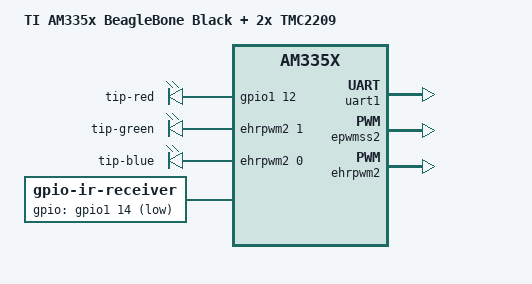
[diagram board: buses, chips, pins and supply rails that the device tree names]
// SPDX-License-Identifier: GPL-2.0-only
/*
 * BeagleBone Black + two BIGTREETECH TMC2209 stepper drivers
 *
 * Both drivers share one single-wire UART bus, told apart by their
 * MS1/MS2 address straps:
 *   P9_24  UART1_TXD  --[1k]--+-- PDN_UART of driver 1 and driver 2
 *   P9_26  UART1_RXD  --------+
 *
 *   Motor 1 (UART address 0, MS1=GND MS2=GND)
 *     P9_16  GPIO1_19   STEP
 *     P9_18  GPIO0_4    DIR
 *   Motor 2 (UART address 2, MS1=GND MS2=3.3V)
 *     P9_12  GPIO1_28   STEP
 *     P9_30  GPIO3_16   DIR
 *   Endstops (switch to GND, internal pull-up: 1 = open, 0 = pressed)
 *     P9_14  GPIO1_18   motor 1
 *     P9_22  GPIO0_2    motor 2
 *   Tip RGB LED (/sys/class/leds/tip-*; pulled down, off at boot)
 *     P8_12  GPIO1_12   red   (gpio-leds, on/off: P8_12 has no PWM)
 *     P8_13  EHRPWM2B   green (pwm-leds, brightness 0-255)
 *     P8_19  EHRPWM2A   blue  (pwm-leds, brightness 0-255)
 *   IR receiver (VS1838, powered from P9_3 3.3 V; /sys/class/rc/rc0)
 *     P8_16  GPIO1_14   OUT   (gpio-ir-recv, low while it sees 38 kHz),
 *                       with 10k to 3.3 V: the internal pull-up is too weak
 *
 * STEP 2 was on P9_28 but that pin stays at ~3.3 V even when driven low
 * (measured 2026-10-09, shield removed), so it moved to P9_12. HDMI audio
 * stays disabled so nothing else drives P9_28. HDMI video is unaffected.
 */
#include "am335x-boneblack.dts"

/ {
	model = "TI AM335x BeagleBone Black + 2x TMC2209";

	/* Held by the kernel so they stay on after "scara led" exits */
	leds-tip {
		compatible = "gpio-leds";
		pinctrl-names = "default";
		pinctrl-0 = <&tip_led_pins>;

		led-tip-red {
			label = "tip-red";
			gpios = <&gpio1 12 GPIO_ACTIVE_HIGH>;
			default-state = "off";
		};
	};

	/* 10 kHz: no visible dotting in a long-exposure photo of a move */
	leds-tip-pwm {
		compatible = "pwm-leds";

		led-tip-green {
			label = "tip-green";
			pwms = <&ehrpwm2 1 100000 0>;	/* B: P8_13 */
			max-brightness = <255>;
			default-state = "off";
		};

		led-tip-blue {
			label = "tip-blue";
			pwms = <&ehrpwm2 0 100000 0>;	/* A: P8_19 */
			max-brightness = <255>;
			default-state = "off";
		};
	};

	/* Decoded by the kernel: scara ir reads the scancodes */
	ir-receiver {
		compatible = "gpio-ir-receiver";
		pinctrl-names = "default";
		pinctrl-0 = <&ir_pins>;
		gpios = <&gpio1 14 GPIO_ACTIVE_LOW>;
	};
};

&am33xx_pinmux {
	pinctrl-0 = <&clkout2_pin &tmc2209_gpio_pins &endstop_pins>;

	tmc2209_uart1_pins: tmc2209-uart1-pins {
		pinctrl-single,pins = <
			AM33XX_PADCONF(AM335X_PIN_UART1_RXD, PIN_INPUT_PULLUP, MUX_MODE0)	/* P9_26 */
			AM33XX_PADCONF(AM335X_PIN_UART1_TXD, PIN_OUTPUT_PULLUP, MUX_MODE0)	/* P9_24 */
		>;
	};

	/* Pulled down so STEP/DIR stay low while no program drives them */
	tmc2209_gpio_pins: tmc2209-gpio-pins {
		pinctrl-single,pins = <
			AM33XX_PADCONF(AM335X_PIN_GPMC_A3, PIN_OUTPUT_PULLDOWN, MUX_MODE7)	/* P9_16 STEP 1 */
			AM33XX_PADCONF(AM335X_PIN_SPI0_D1, PIN_OUTPUT_PULLDOWN, MUX_MODE7)	/* P9_18 DIR 1 */
			AM33XX_PADCONF(AM335X_PIN_MCASP0_AXR0, PIN_OUTPUT_PULLDOWN, MUX_MODE7)	/* P9_30 DIR 2 */
			AM33XX_PADCONF(AM335X_PIN_GPMC_BEN1, PIN_OUTPUT_PULLDOWN, MUX_MODE7)	/* P9_12 STEP 2 */
		>;
	};

	/* Pulled down so the LED stays off until the driver takes the line */
	tip_led_pins: tip-led-pins {
		pinctrl-single,pins = <
			AM33XX_PADCONF(AM335X_PIN_GPMC_AD12, PIN_OUTPUT_PULLDOWN, MUX_MODE7)	/* P8_12 tip LED red */
		>;
	};

	tip_pwm_pins: tip-pwm-pins {
		pinctrl-single,pins = <
			AM33XX_PADCONF(AM335X_PIN_GPMC_AD9, PIN_OUTPUT_PULLDOWN, MUX_MODE4)	/* P8_13 ehrpwm2B green */
			AM33XX_PADCONF(AM335X_PIN_GPMC_AD8, PIN_OUTPUT_PULLDOWN, MUX_MODE4)	/* P8_19 ehrpwm2A blue */
		>;
	};

	/* The VS1838 output idles high; the pull-up keeps it there unplugged */
	ir_pins: ir-pins {
		pinctrl-single,pins = <
			AM33XX_PADCONF(AM335X_PIN_GPMC_AD14, PIN_INPUT_PULLUP, MUX_MODE7)	/* P8_16 IR receiver */
		>;
	};

	/* Switch to GND: pull-up reads 1 when open, 0 when pressed */
	endstop_pins: endstop-pins {
		pinctrl-single,pins = <
			AM33XX_PADCONF(AM335X_PIN_GPMC_A2, PIN_INPUT_PULLUP, MUX_MODE7)	/* P9_14 endstop 1 */
			AM33XX_PADCONF(AM335X_PIN_SPI0_SCLK, PIN_INPUT_PULLUP, MUX_MODE7)	/* P9_22 endstop 2 */
		>;
	};
};

&uart1 {
	pinctrl-names = "default";
	pinctrl-0 = <&tmc2209_uart1_pins>;
	status = "okay";
};

/* PWM for the green and blue tip LED */
&epwmss2 {
	status = "okay";
};

&ehrpwm2 {
	pinctrl-names = "default";
	pinctrl-0 = <&tip_pwm_pins>;
	status = "okay";
};

/* HDMI audio off: keeps McASP0 off P9_28 (AHCLKR/AXR2), see above */
&mcasp0 {
	status = "disabled";
};

&{/sound} {
	status = "disabled";
};
